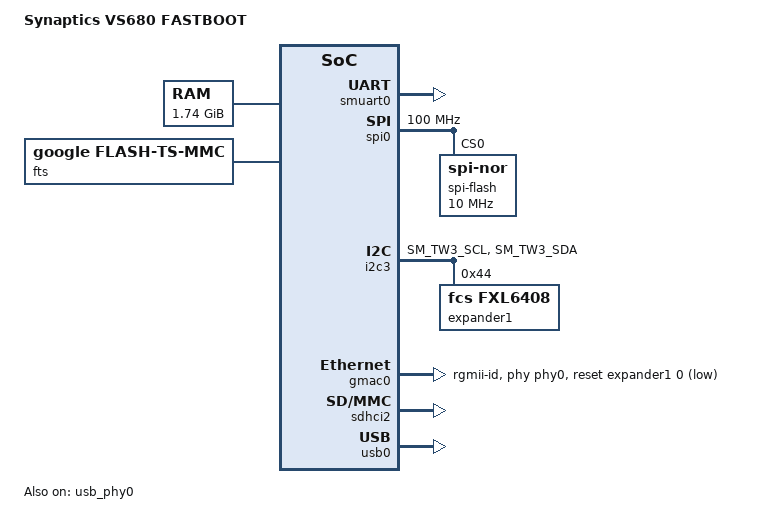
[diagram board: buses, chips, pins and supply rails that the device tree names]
/* SPDX-License-Identifier: GPL-2.0+ */
/*
 * Copyright (C) 2020 Synaptics Incorporated
 *
 * Author: Tony Zhu <Tony.Zhu@synaptics.com>
 *
 */

/dts-v1/;

#include "vs680.dtsi"
#include "include/dt-bindings/gpio/gpio.h"
#include "berlin-fastboot-gui.dtsi"

/ {
	model = "Synaptics VS680 FASTBOOT";
	compatible = "Synaptics,vs680", "Synaptics,asserial";
	fastboot,product-name = "vs680";

	memory {
		device_type = "memory";
		reg = <0 0x04100000 0 0x6f700000>;
	};

	fts {
		compatible = "google,flash-ts-mmc";
	};

	chosen {
                stdout-path = &smuart0;
        };
};

&sysmgr_pinctrl {
	sm_i2c_tw3_pmux: sm_i2c_tw3_pmux {
		groups = "SM_TW3_SCL", "SM_TW3_SDA";
		function = "tw3";
	};
};

&pinctrl {
        emmc_pmux: emmc-pmux {
                groups = "NAND_IO0", "NAND_IO1", "NAND_IO2", "NAND_IO3", "NAND_IO4", "NAND_IO5", "ND_IO6", "NAND_IO7", "NAND_ALE", "NAND_CLE", "NAND_WPn";
                function = "emmc";
        };

	usb_vbus_pmux: usb_vbus_pmux {
		groups = "USB2_DRV_VBUS";
		function = "gpio";
	};
};

&CPU_SLEEP_0 {
	status = "disabled";
};

&smuart0 {
	status = "okay";
};

&spi0 {
	status = "okay";
	max-write-size = <128>;
	clock-frequency = <100000000>;
	spi-flash@0 {
		#address-cells = <1>;
		#size-cells = <1>;
		compatible = "jedec,spi-nor";
		reg = <0>;
		memory-map = <0x0 0xf0000000 0x0 0x4000000>;
		spi-max-frequency = <10000000>;
        };
};

&phy0 {
	reg = <0>;
};

&i2c3 {
	status = "okay";
	pinctrl-names = "default";
	pinctrl-0 = <&sm_i2c_tw3_pmux>;
	expander1: gpio@44 {
		compatible = "fcs,fxl6408";
		reg = <0x44>;
		gpio-controller;
		#gpio-cells = <2>;
	};
};

&gmac0 {
	status = "okay";
	max-speed = <1000>;
	phy-mode = "rgmii-id";
	phy-handle = <&phy0>;
	phy = <&phy0>;
	snps,reset-gpio = <&expander1 0 GPIO_ACTIVE_LOW>;
	snps,reset-active-low;
	snps,reset-delays-us = <0 10000 50000>;
};

&sdhci2 {
	status = "okay";
	max-frequency = <50000000>;
	cap-mmc-highspeed;
	1_8v-signalling;
};

&usb_phy0 {
	status = "okay";
};

&usb0 {
	status = "okay";
};
